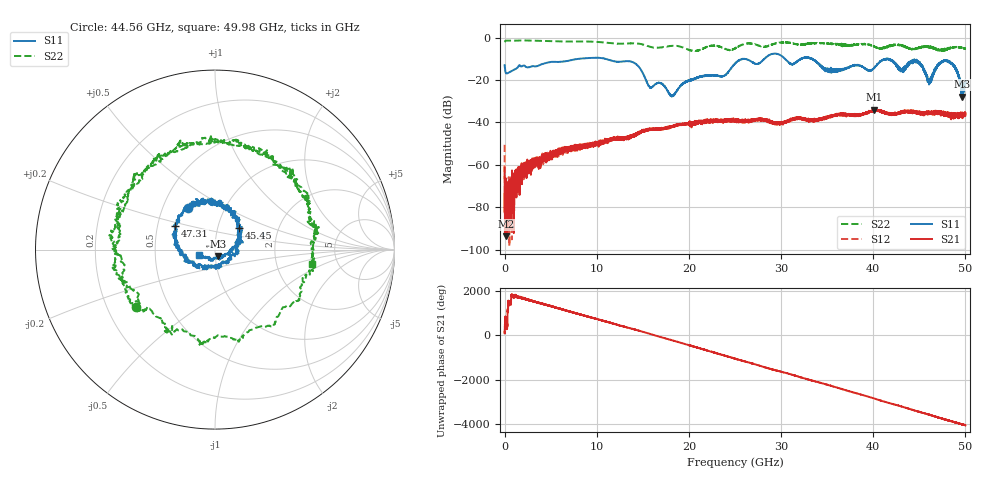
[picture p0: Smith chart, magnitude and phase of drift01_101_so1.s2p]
!Created with skrf (http://scikit-rf.org).
# Hz S RI R 50.0
!freq ReS11 ImS11 ReS21 ImS21 ReS12 ImS12 ReS22 ImS22
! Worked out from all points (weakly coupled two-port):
!   10001 points, 300 kHz to 50 GHz, reference 50 ohm
!   highest |S21| = -34.03 dB at 40.08 GHz (marker M1); lowest = -93.6 dB at 170.3 MHz (marker M2)
!   lowest |S11| = -27.8 dB at 49.67 GHz (marker M3), VSWR 1.08, Z = 51.8 - j3.72 ohm
!   |S11| at or under -10 dB: start of sweep to 8.07 GHz; 10.91 GHz to 26 GHz (15.08 GHz wide, 81.7 % of centre); 41.59 GHz to end of sweep (the widest 3 of 18)
!   |S22| runs from -6.4 to -1.4 dB; largest |S21 - S12| = 0.0044
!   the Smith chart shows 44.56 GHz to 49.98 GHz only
!   S11 on the Smith chart (normalised r, x): 44.56 GHz: 0.67, +0.34; 45.45 GHz: 1.26, +0.32; 47.31 GHz: 0.62, +0.18; 49.98 GHz: 0.84, -0.05
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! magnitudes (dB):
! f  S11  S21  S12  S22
! 300 kHz  -13.1  -61.4  -50.6  -2.1
! 170.3 MHz  -16.9  -93.6  -80.5  -1.5
! 3.185 GHz  -13.5  -57.5  -58.8  -1.4
! 8.335 GHz  -9.9  -51.5  -51.6  -1.8
! 13.8 GHz  -11.4  -46.1  -46.8  -2.7
! 15.74 GHz  -23.3  -43.1  -43.5  -4.2
! 16.67 GHz  -21.3  -42.9  -43.0  -4.8
! 18.22 GHz  -27.3  -41.8  -41.9  -3.9
! 25 GHz  -12.2  -39.1  -39.4  -5.1
! 33.34 GHz  -10.0  -39.0  -38.7  -2.7
! 35.14 GHz  -16.0  -37.2  -37.4  -2.8
! 40.08 GHz  -14.3  -34.0  -34.5  -4.2
! 41.67 GHz  -10.3  -35.9  -35.9  -4.2
! 43.07 GHz  -15.1  -35.1  -35.2  -3.7
! 44.56 GHz  -11.2  -35.3  -34.9  -5.3
! 45.45 GHz  -14.9  -35.3  -36.1  -4.2
! 46.14 GHz  -21.2  -35.8  -35.4  -4.3
! 47.31 GHz  -11.8  -35.2  -35.1  -6.2
! 48.7 GHz  -13.0  -37.2  -36.5  -4.6
! 49.67 GHz  -27.8  -38.0  -36.7  -4.9
! 49.98 GHz  -20.8  -36.0  -35.4  -5.3
! 50 GHz  -21.0  -36.7  -36.1  -5.4
